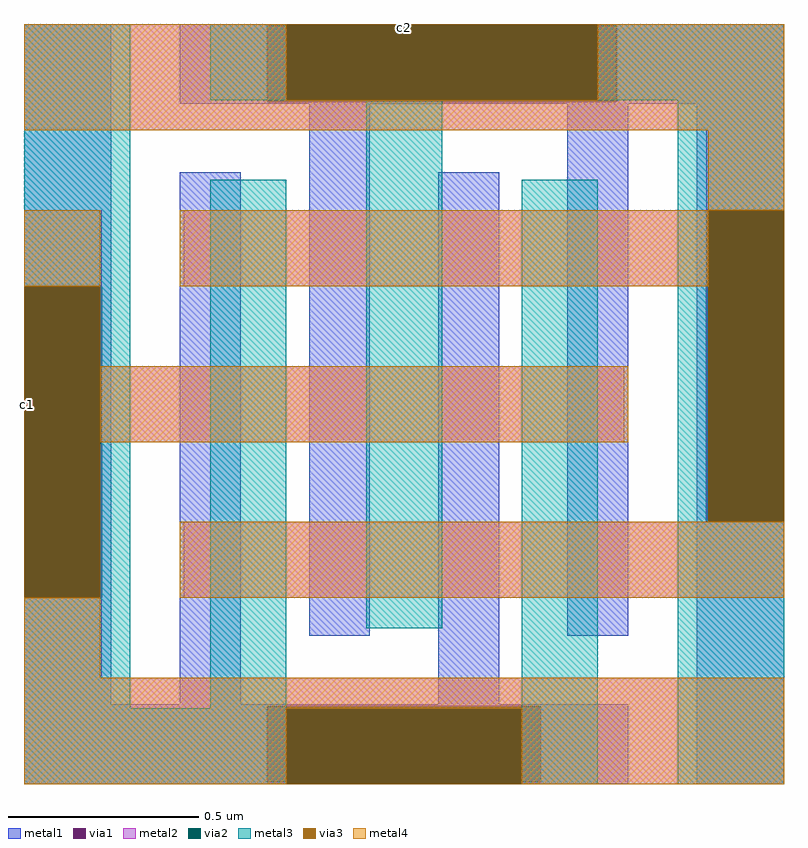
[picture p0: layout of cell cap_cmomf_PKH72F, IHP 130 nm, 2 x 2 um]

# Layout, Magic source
magic
tech ihp-sg13cmos5l
magscale 1 2
<< metal1 >>
rect 0 262 46 400
rect 82 399 400 400
rect 82 359 128 399
rect 312 359 400 399
rect 82 358 400 359
rect 0 98 1 262
rect 41 98 46 262
rect 0 42 46 98
rect 82 42 114 322
rect 150 78 182 358
rect 218 42 250 322
rect 286 78 318 358
rect 354 302 400 358
rect 354 138 359 302
rect 399 138 400 302
rect 0 41 318 42
rect 0 1 128 41
rect 272 1 318 41
rect 0 0 318 1
rect 354 0 400 138
<< via1 >>
rect 128 359 312 399
rect 1 98 41 262
rect 359 138 399 302
rect 128 1 272 41
<< metal2 >>
rect 0 399 138 400
rect 302 399 400 400
rect 0 359 128 399
rect 312 359 400 399
rect 0 344 400 359
rect 359 302 400 344
rect 0 262 41 302
rect 84 262 359 302
rect 41 180 316 220
rect 84 98 400 138
rect 0 56 41 98
rect 0 41 400 56
rect 0 1 128 41
rect 272 1 400 41
rect 0 0 138 1
rect 262 0 400 1
<< via2 >>
rect 138 399 302 400
rect 138 360 302 399
rect 0 98 1 262
rect 1 98 40 262
rect 360 138 399 302
rect 399 138 400 302
rect 138 1 262 40
rect 138 0 262 1
<< metal3 >>
rect 0 262 56 400
rect 98 360 138 400
rect 302 360 400 400
rect 40 98 56 262
rect 0 40 56 98
rect 98 40 138 318
rect 180 82 220 360
rect 0 0 138 40
rect 262 0 302 318
rect 344 302 400 360
rect 344 138 360 302
rect 344 0 400 138
<< via3 >>
rect 138 360 302 400
rect 0 98 40 262
rect 138 0 262 40
rect 360 138 400 302
<< metal4 >>
rect 0 360 138 400
rect 302 360 400 400
rect 0 344 400 360
rect 360 302 400 344
rect 0 262 40 302
rect 82 262 360 302
rect 40 180 318 220
rect 82 98 400 138
rect 0 56 40 98
rect 0 40 400 56
rect 0 0 138 40
rect 262 0 400 40
<< labels >>
rlabel via3 2 200 2 200 0 c1
port 1 nsew
rlabel via3 200 398 200 398 0 c2
port 2 nsew
<< properties >>
string device devcap None 0 0 1 1 2.8362 c1 0 0 c2 0 0
string FIXED_BBOX 0 0 400 400
string gencell cap_cmomf
string library sg13cmos5l
string parameters w 2.00 l 2.00 value 9.28 class capacitor mmin metal1 mmax metal4 square 1 subblock 0 lmin 2.00 wmin 2.00 lmax 100.0 wmax 100.0
<< end >>
